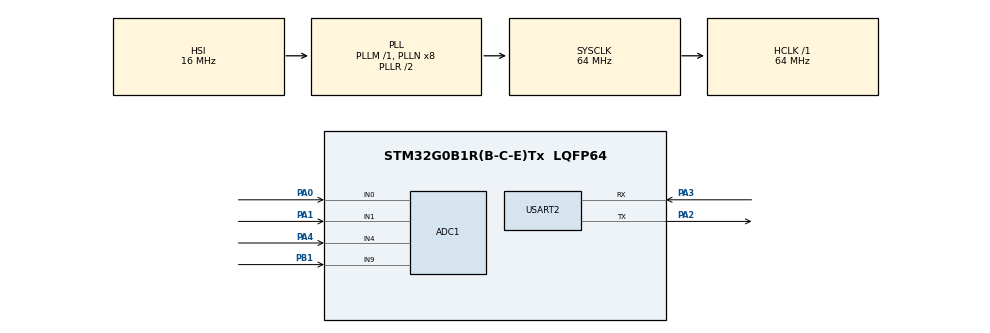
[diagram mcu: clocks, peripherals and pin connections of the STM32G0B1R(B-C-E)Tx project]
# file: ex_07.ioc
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ADC1.Channel-0\#ChannelRegularConversion=ADC_CHANNEL_0
ADC1.Channel-1\#ChannelRegularConversion=ADC_CHANNEL_1
ADC1.Channel-2\#ChannelRegularConversion=ADC_CHANNEL_4
ADC1.Channel-3\#ChannelRegularConversion=ADC_CHANNEL_9
ADC1.ContinuousConvMode=ENABLE
ADC1.DMAContinuousRequests=DISABLE
ADC1.EOCSelection=ADC_EOC_SEQ_CONV
ADC1.NbrOfConversion=4
ADC1.NbrOfConversionFlag=1
ADC1.Rank-0\#ChannelRegularConversion=1
ADC1.Rank-1\#ChannelRegularConversion=2
ADC1.Rank-2\#ChannelRegularConversion=3
ADC1.Rank-3\#ChannelRegularConversion=4
ADC1.SamplingTime-0\#ChannelRegularConversion=ADC_SAMPLINGTIME_COMMON_1
ADC1.SamplingTime-1\#ChannelRegularConversion=ADC_SAMPLINGTIME_COMMON_1
ADC1.SamplingTime-2\#ChannelRegularConversion=ADC_SAMPLINGTIME_COMMON_1
ADC1.SamplingTime-3\#ChannelRegularConversion=ADC_SAMPLINGTIME_COMMON_1
ADC1.SamplingTimeCommon1=ADC_SAMPLETIME_79CYCLES_5
ADC1.SamplingTimeCommon2=ADC_SAMPLETIME_79CYCLES_5
ADC1.SelectedChannel=ADC_CHANNEL_0|ADC_CHANNEL_1|ADC_CHANNEL_4|ADC_CHANNEL_9
ADC1.master=1
Dma.ADC1.0.Direction=DMA_PERIPH_TO_MEMORY
Dma.ADC1.0.EventEnable=DISABLE
Dma.ADC1.0.Instance=DMA1_Channel1
Dma.ADC1.0.MemDataAlignment=DMA_MDATAALIGN_HALFWORD
Dma.ADC1.0.MemInc=DMA_MINC_ENABLE
Dma.ADC1.0.Mode=DMA_NORMAL
Dma.ADC1.0.PeriphDataAlignment=DMA_PDATAALIGN_HALFWORD
Dma.ADC1.0.PeriphInc=DMA_PINC_DISABLE
Dma.ADC1.0.Polarity=HAL_DMAMUX_REQ_GEN_RISING
Dma.ADC1.0.Priority=DMA_PRIORITY_LOW
Dma.ADC1.0.RequestNumber=1
Dma.ADC1.0.SignalID=NONE
Dma.ADC1.0.SyncEnable=DISABLE
Dma.ADC1.0.SyncPolarity=HAL_DMAMUX_SYNC_NO_EVENT
Dma.ADC1.0.SyncRequestNumber=1
Dma.ADC1.0.SyncSignalID=NONE
Dma.Request0=ADC1
Mcu.Family=STM32G0
Mcu.Name=STM32G0B1R(B-C-E)Tx
Mcu.Package=LQFP64
NVIC.ADC1_COMP_IRQn=true\:0\:0\:false\:false\:true\:true\:true
NVIC.DMA1_Channel1_IRQn=true\:0\:0\:false\:false\:true\:false\:true
NVIC.USART2_LPUART2_IRQn=true\:0\:0\:false\:false\:true\:true\:true
PA0.Mode=IN0
PA0.Signal=ADC1_IN0
PA1.Mode=IN1
PA1.Signal=ADC1_IN1
PA13.Mode=Serial_Wire
PA13.Signal=SYS_SWDIO
PA14-BOOT0.Mode=Serial_Wire
PA14-BOOT0.Signal=SYS_SWCLK
PA2.Mode=Asynchronous
PA2.Signal=USART2_TX
PA3.Mode=Asynchronous
PA3.Signal=USART2_RX
PA4.Mode=IN4
PA4.Signal=ADC1_IN4
PB1.Mode=IN9
PB1.Signal=ADC1_IN9
ProjectManager.HeapSize=0x200
ProjectManager.StackSize=0x400
ProjectManager.TargetToolchain=STM32CubeIDE
RCC.ADCFreq_Value=64000000
RCC.AHBFreq_Value=64000000
RCC.CortexFreq_Value=64000000
RCC.EXTERNAL_CLOCK_VALUE=48000
RCC.HCLKFreq_Value=64000000
RCC.HSE_VALUE=8000000
RCC.HSI48_VALUE=48000000
RCC.HSI_VALUE=16000000
RCC.LSE_VALUE=32768
RCC.SYSCLKFreq_VALUE=64000000
RCC.SYSCLKSource=RCC_SYSCLKSOURCE_PLLCLK
RCC.USBFreq_Value=48000000
RCC.VCOOutputFreq_Value=128000000
USART2.VirtualMode-Asynchronous=VM_ASYNC
VP_SYS_VS_DBSignals.Mode=DisableDeadBatterySignals
board=custom

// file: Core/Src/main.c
/* USER CODE BEGIN Header */
/**
  ******************************************************************************
  * @file           : main.c
  * @brief          : Main program body
  ******************************************************************************
  * @attention
  *
  * Copyright (c) 2022 STMicroelectronics.
  * All rights reserved.
  *
  * This software is licensed under terms that can be found in the LICENSE file
  * in the root directory of this software component.
  * If no LICENSE file comes with this software, it is provided AS-IS.
  *
  ******************************************************************************
  */
/* USER CODE END Header */
#include "main.h"

/* USER CODE BEGIN Includes */
#include<stdint.h>
/* USER CODE END Includes */

ADC_HandleTypeDef hadc1;
DMA_HandleTypeDef hdma_adc1;

UART_HandleTypeDef huart2;

void SystemClock_Config(void);
static void MX_GPIO_Init(void);
static void MX_DMA_Init(void);
static void MX_ADC1_Init(void);
static void MX_USART2_UART_Init(void);

/* USER CODE BEGIN 0 */
uint16_t analog[4];
uint8_t freg = 0, flag = 0, cont = 0;
float tensao[4], media[4];
char frase[100];

void HAL_ADC_ConvCpltCallback(ADC_HandleTypeDef *hadc){
	freg = 1;
}

void HAL_UART_RxCpltCallback(UART_HandleTypeDef *huart){
	flag = 1;
}
/* USER CODE END 0 */

int main(void)
{

  /* MCU Configuration--------------------------------------------------------*/

  /* Reset of all peripherals, Initializes the Flash interface and the Systick. */
  HAL_Init();

  /* Configure the system clock */
  SystemClock_Config();

  /* Initialize all configured peripherals */
  MX_GPIO_Init();
  MX_DMA_Init();
  MX_ADC1_Init();
  MX_USART2_UART_Init();
  /* USER CODE BEGIN 2 */

  HAL_ADCEx_Calibration_Start(&hadc1);
  HAL_ADC_Start_DMA(&hadc1, (uint32_t *)analog, 4);
  /* USER CODE END 2 */

  /* Infinite loop */
  /* USER CODE BEGIN WHILE */
  while (1)
  {
	  HAL_ADC_Start_DMA(&hadc1, (uint32_t *)analog, 4);

	  if (freg) {

	    tensao[0] = 3.3 / 4095.0 * analog[0];
	  	tensao[1] = 3.3 / 4095.0 * analog[1];
	  	tensao[2] = 3.3 / 4095.0 * analog[2];
	  	tensao[3] = 3.3 / 4095.0 * analog[3];

	  	for (int i = 0; i < 100; i++) {

	  		media[0] += tensao[0];
	  		media[1] += tensao[1];
	  		media[2] += tensao[2];
	  		media[3] += tensao[3];

	  	}

	  	 media[0] /= 100;
	  	 media[1] /= 100;
	  	 media[2] /= 100;
	  	 media[3] /= 100;

	  	 freg = 0;
	     sprintf(frase, " 1= %f\n 2= %f\n 3= %f\n 4= %f\n\n\r", media[0], media[1], media[2], media[3]);
	     HAL_UART_Transmit_IT(&huart2, (uint8_t*)frase, strlen(frase));
	     HAL_Delay(500);
	}

    /* USER CODE END WHILE */

  }
}

void SystemClock_Config(void)
{
  RCC_OscInitTypeDef RCC_OscInitStruct = {0};
  RCC_ClkInitTypeDef RCC_ClkInitStruct = {0};

  /** Configure the main internal regulator output voltage
  */
  HAL_PWREx_ControlVoltageScaling(PWR_REGULATOR_VOLTAGE_SCALE1);
  /** Initializes the RCC Oscillators according to the specified parameters
  * in the RCC_OscInitTypeDef structure.
  */
  RCC_OscInitStruct.OscillatorType = RCC_OSCILLATORTYPE_HSI;
  RCC_OscInitStruct.HSIState = RCC_HSI_ON;
  RCC_OscInitStruct.HSIDiv = RCC_HSI_DIV1;
  RCC_OscInitStruct.HSICalibrationValue = RCC_HSICALIBRATION_DEFAULT;
  RCC_OscInitStruct.PLL.PLLState = RCC_PLL_ON;
  RCC_OscInitStruct.PLL.PLLSource = RCC_PLLSOURCE_HSI;
  RCC_OscInitStruct.PLL.PLLM = RCC_PLLM_DIV1;
  RCC_OscInitStruct.PLL.PLLN = 8;
  RCC_OscInitStruct.PLL.PLLP = RCC_PLLP_DIV2;
  RCC_OscInitStruct.PLL.PLLQ = RCC_PLLQ_DIV2;
  RCC_OscInitStruct.PLL.PLLR = RCC_PLLR_DIV2;
  if (HAL_RCC_OscConfig(&RCC_OscInitStruct) != HAL_OK)
  {
    Error_Handler();
  }
  /** Initializes the CPU, AHB and APB buses clocks
  */
  RCC_ClkInitStruct.ClockType = RCC_CLOCKTYPE_HCLK|RCC_CLOCKTYPE_SYSCLK
                              |RCC_CLOCKTYPE_PCLK1;
  RCC_ClkInitStruct.SYSCLKSource = RCC_SYSCLKSOURCE_PLLCLK;
  RCC_ClkInitStruct.AHBCLKDivider = RCC_SYSCLK_DIV1;
  RCC_ClkInitStruct.APB1CLKDivider = RCC_HCLK_DIV1;

  if (HAL_RCC_ClockConfig(&RCC_ClkInitStruct, FLASH_LATENCY_2) != HAL_OK)
  {
    Error_Handler();
  }
}

static void MX_ADC1_Init(void)
{

  ADC_ChannelConfTypeDef sConfig = {0};

  /** Configure the global features of the ADC (Clock, Resolution, Data Alignment and number of conversion)
  */
  hadc1.Instance = ADC1;
  hadc1.Init.ClockPrescaler = ADC_CLOCK_SYNC_PCLK_DIV2;
  hadc1.Init.Resolution = ADC_RESOLUTION_12B;
  hadc1.Init.DataAlign = ADC_DATAALIGN_RIGHT;
  hadc1.Init.ScanConvMode = ADC_SCAN_ENABLE;
  hadc1.Init.EOCSelection = ADC_EOC_SEQ_CONV;
  hadc1.Init.LowPowerAutoWait = DISABLE;
  hadc1.Init.LowPowerAutoPowerOff = DISABLE;
  hadc1.Init.ContinuousConvMode = ENABLE;
  hadc1.Init.NbrOfConversion = 4;
  hadc1.Init.DiscontinuousConvMode = DISABLE;
  hadc1.Init.ExternalTrigConv = ADC_SOFTWARE_START;
  hadc1.Init.ExternalTrigConvEdge = ADC_EXTERNALTRIGCONVEDGE_NONE;
  hadc1.Init.DMAContinuousRequests = DISABLE;
  hadc1.Init.Overrun = ADC_OVR_DATA_PRESERVED;
  hadc1.Init.SamplingTimeCommon1 = ADC_SAMPLETIME_79CYCLES_5;
  hadc1.Init.SamplingTimeCommon2 = ADC_SAMPLETIME_79CYCLES_5;
  hadc1.Init.OversamplingMode = DISABLE;
  hadc1.Init.TriggerFrequencyMode = ADC_TRIGGER_FREQ_HIGH;
  if (HAL_ADC_Init(&hadc1) != HAL_OK)
  {
    Error_Handler();
  }
  /** Configure Regular Channel
  */
  sConfig.Channel = ADC_CHANNEL_0;
  sConfig.Rank = ADC_REGULAR_RANK_1;
  sConfig.SamplingTime = ADC_SAMPLINGTIME_COMMON_1;
  if (HAL_ADC_ConfigChannel(&hadc1, &sConfig) != HAL_OK)
  {
    Error_Handler();
  }
  /** Configure Regular Channel
  */
  sConfig.Channel = ADC_CHANNEL_1;
  sConfig.Rank = ADC_REGULAR_RANK_2;
  if (HAL_ADC_ConfigChannel(&hadc1, &sConfig) != HAL_OK)
  {
    Error_Handler();
  }
  /** Configure Regular Channel
  */
  sConfig.Channel = ADC_CHANNEL_4;
  sConfig.Rank = ADC_REGULAR_RANK_3;
  if (HAL_ADC_ConfigChannel(&hadc1, &sConfig) != HAL_OK)
  {
    Error_Handler();
  }
  /** Configure Regular Channel
  */
  sConfig.Channel = ADC_CHANNEL_9;
  sConfig.Rank = ADC_REGULAR_RANK_4;
  if (HAL_ADC_ConfigChannel(&hadc1, &sConfig) != HAL_OK)
  {
    Error_Handler();
  }

}

static void MX_USART2_UART_Init(void)
{

  huart2.Instance = USART2;
  huart2.Init.BaudRate = 115200;
  huart2.Init.WordLength = UART_WORDLENGTH_8B;
  huart2.Init.StopBits = UART_STOPBITS_1;
  huart2.Init.Parity = UART_PARITY_NONE;
  huart2.Init.Mode = UART_MODE_TX_RX;
  huart2.Init.HwFlowCtl = UART_HWCONTROL_NONE;
  huart2.Init.OverSampling = UART_OVERSAMPLING_16;
  huart2.Init.OneBitSampling = UART_ONE_BIT_SAMPLE_DISABLE;
  huart2.Init.ClockPrescaler = UART_PRESCALER_DIV1;
  huart2.AdvancedInit.AdvFeatureInit = UART_ADVFEATURE_NO_INIT;
  if (HAL_UART_Init(&huart2) != HAL_OK)
  {
    Error_Handler();
  }
  if (HAL_UARTEx_SetTxFifoThreshold(&huart2, UART_TXFIFO_THRESHOLD_1_8) != HAL_OK)
  {
    Error_Handler();
  }
  if (HAL_UARTEx_SetRxFifoThreshold(&huart2, UART_RXFIFO_THRESHOLD_1_8) != HAL_OK)
  {
    Error_Handler();
  }
  if (HAL_UARTEx_DisableFifoMode(&huart2) != HAL_OK)
  {
    Error_Handler();
  }

}

static void MX_DMA_Init(void)
{

  /* DMA controller clock enable */
  __HAL_RCC_DMA1_CLK_ENABLE();

  /* DMA interrupt init */
  /* DMA1_Channel1_IRQn interrupt configuration */
  HAL_NVIC_SetPriority(DMA1_Channel1_IRQn, 0, 0);
  HAL_NVIC_EnableIRQ(DMA1_Channel1_IRQn);

}

static void MX_GPIO_Init(void)
{

  /* GPIO Ports Clock Enable */
  __HAL_RCC_GPIOA_CLK_ENABLE();
  __HAL_RCC_GPIOB_CLK_ENABLE();

}

void Error_Handler(void)
{
  __disable_irq();
  while (1)
  {
  }
}
